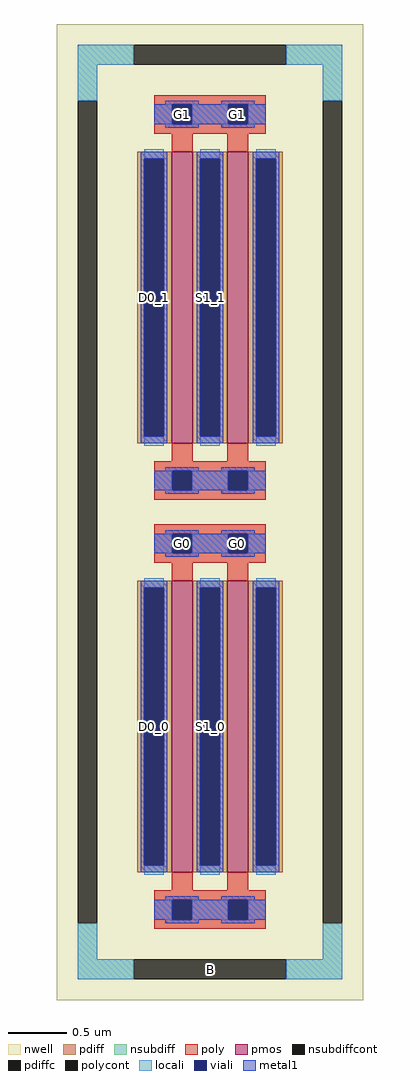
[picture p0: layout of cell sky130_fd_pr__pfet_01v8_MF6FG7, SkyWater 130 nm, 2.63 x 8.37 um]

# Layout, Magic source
magic
tech sky130A
magscale 1 2
<< nwell >>
rect -263 -837 263 837
<< pmos >>
rect -66 118 -30 618
rect 30 118 66 618
rect -66 -618 -30 -118
rect 30 -618 66 -118
<< pdiff >>
rect -125 606 -66 618
rect -125 130 -113 606
rect -79 130 -66 606
rect -125 118 -66 130
rect -30 606 30 618
rect -30 130 -17 606
rect 17 130 30 606
rect -30 118 30 130
rect 66 606 125 618
rect 66 130 79 606
rect 113 130 125 606
rect 66 118 125 130
rect -125 -130 -66 -118
rect -125 -606 -113 -130
rect -79 -606 -66 -130
rect -125 -618 -66 -606
rect -30 -130 30 -118
rect -30 -606 -17 -130
rect 17 -606 30 -130
rect -30 -618 30 -606
rect 66 -130 125 -118
rect 66 -606 79 -130
rect 113 -606 125 -130
rect 66 -618 125 -606
<< pdiffc >>
rect -113 130 -79 606
rect -17 130 17 606
rect 79 130 113 606
rect -113 -606 -79 -130
rect -17 -606 17 -130
rect 79 -606 113 -130
<< nsubdiff >>
rect -227 767 -131 801
rect 131 767 227 801
rect -227 705 -193 767
rect 193 705 227 767
rect -227 -767 -193 -705
rect 193 -767 227 -705
rect -227 -801 -131 -767
rect 131 -801 227 -767
<< nsubdiffcont >>
rect -131 767 131 801
rect -227 -705 -193 705
rect 193 -705 227 705
rect -131 -801 131 -767
<< poly >>
rect -96 699 96 715
rect -96 665 -65 699
rect -31 665 31 699
rect 65 665 96 699
rect -96 649 96 665
rect -66 618 -30 649
rect 30 618 66 649
rect -66 87 -30 118
rect 30 87 66 118
rect -96 71 96 87
rect -96 37 -65 71
rect -31 37 31 71
rect 65 37 96 71
rect -96 21 96 37
rect -96 -37 96 -21
rect -96 -71 -65 -37
rect -31 -71 31 -37
rect 65 -71 96 -37
rect -96 -87 96 -71
rect -66 -118 -30 -87
rect 30 -118 66 -87
rect -66 -649 -30 -618
rect 30 -649 66 -618
rect -96 -665 96 -649
rect -96 -699 -65 -665
rect -31 -699 31 -665
rect 65 -699 96 -665
rect -96 -715 96 -699
<< polycont >>
rect -65 665 -31 699
rect 31 665 65 699
rect -65 37 -31 71
rect 31 37 65 71
rect -65 -71 -31 -37
rect 31 -71 65 -37
rect -65 -699 -31 -665
rect 31 -699 65 -665
<< locali >>
rect -227 767 -131 801
rect 131 767 227 801
rect -227 705 -193 767
rect 193 705 227 767
rect -96 665 -65 699
rect -31 665 31 699
rect 65 665 96 699
rect -113 606 -79 622
rect -113 114 -79 130
rect -17 606 17 622
rect -17 114 17 130
rect 79 606 113 622
rect 79 114 113 130
rect -96 37 -65 71
rect -31 37 31 71
rect 65 37 96 71
rect -96 -71 -65 -37
rect -31 -71 31 -37
rect 65 -71 96 -37
rect -113 -130 -79 -114
rect -113 -622 -79 -606
rect -17 -130 17 -114
rect -17 -622 17 -606
rect 79 -130 113 -114
rect 79 -622 113 -606
rect -96 -699 -65 -665
rect -31 -699 31 -665
rect 65 -699 96 -665
rect -227 -767 -193 -705
rect 193 -767 227 -705
rect -227 -801 -131 -767
rect 131 -801 227 -767
<< viali >>
rect -65 665 -31 699
rect 31 665 65 699
rect -113 130 -79 606
rect -17 130 17 606
rect 79 130 113 606
rect -65 37 -31 71
rect 31 37 65 71
rect -65 -71 -31 -37
rect 31 -71 65 -37
rect -113 -606 -79 -130
rect -17 -606 17 -130
rect 79 -606 113 -130
rect -65 -699 -31 -665
rect 31 -699 65 -665
<< metal1 >>
rect -77 699 -19 705
rect 19 699 77 705
rect -96 665 -65 699
rect -31 665 31 699
rect 65 665 96 699
rect -77 659 -19 665
rect 19 659 77 665
rect -119 606 -73 618
rect -119 130 -113 606
rect -79 130 -73 606
rect -119 118 -73 130
rect -23 606 23 618
rect -23 130 -17 606
rect 17 130 23 606
rect -23 118 23 130
rect 73 606 119 618
rect 73 130 79 606
rect 113 130 119 606
rect 73 118 119 130
rect -77 71 -19 77
rect 19 71 77 77
rect -96 37 -65 71
rect -31 37 31 71
rect 65 37 96 71
rect -77 31 -19 37
rect 19 31 77 37
rect -77 -37 -19 -31
rect 19 -37 77 -31
rect -96 -71 -65 -37
rect -31 -71 31 -37
rect 65 -71 96 -37
rect -77 -77 -19 -71
rect 19 -77 77 -71
rect -119 -130 -73 -118
rect -119 -606 -113 -130
rect -79 -606 -73 -130
rect -119 -618 -73 -606
rect -23 -130 23 -118
rect -23 -606 -17 -130
rect 17 -606 23 -130
rect -23 -618 23 -606
rect 73 -130 119 -118
rect 73 -606 79 -130
rect 113 -606 119 -130
rect 73 -618 119 -606
rect -77 -665 -19 -659
rect 19 -665 77 -659
rect -96 -699 -65 -665
rect -31 -699 31 -665
rect 65 -699 96 -665
rect -77 -705 -19 -699
rect 19 -705 77 -699
<< labels >>
rlabel nsubdiffcont 0 -784 0 -784 0 B
port 1 nsew
rlabel pdiffc -96 -368 -96 -368 0 D0_0
port 2 nsew
rlabel polycont -48 -54 -48 -54 0 G0
port 3 nsew
rlabel pdiffc -96 368 -96 368 0 D0_1
port 4 nsew
rlabel polycont -48 682 -48 682 0 G1
port 5 nsew
rlabel pdiffc 0 -368 0 -368 0 S1_0
port 6 nsew
rlabel polycont 48 -54 48 -54 0 G0
port 3 nsew
rlabel pdiffc 0 368 0 368 0 S1_1
port 7 nsew
rlabel polycont 48 682 48 682 0 G1
port 5 nsew
<< properties >>
string FIXED_BBOX -210 -784 210 784
string gencell sky130_fd_pr__pfet_01v8
string library sky130
string parameters w 2.5 l 0.18 m 2 nf 2 diffcov 100 polycov 100 guard 1 glc 1 grc 1 gtc 1 gbc 1 tbcov 100 rlcov 100 topc 1 botc 1 poverlap 0 doverlap 1 lmin 0.15 wmin 0.42 class mosfet compatible {sky130_fd_pr__pfet_01v8  sky130_fd_pr__pfet_01v8_lvt sky130_fd_pr__pfet_01v8_hvt  sky130_fd_pr__pfet_g5v0d10v5} full_metal 1 conn_gates 1 viasrc 100 viadrn 100 viagate 100 viagb 0 viagr 0 viagl 0 viagt 0 doports 1
<< end >>
